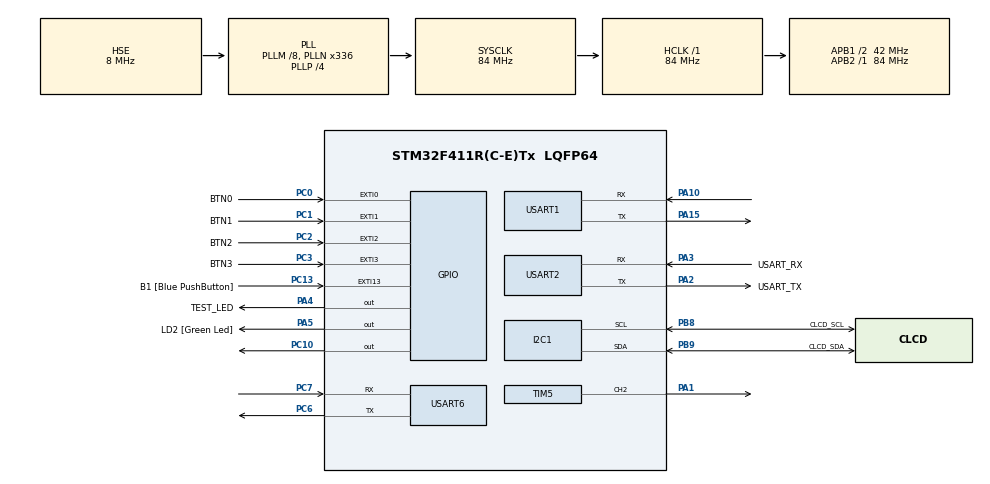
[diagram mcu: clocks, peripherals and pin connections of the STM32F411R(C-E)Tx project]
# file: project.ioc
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Dma.Request0=USART2_TX
Dma.USART2_TX.0.Direction=DMA_MEMORY_TO_PERIPH
Dma.USART2_TX.0.FIFOMode=DMA_FIFOMODE_DISABLE
Dma.USART2_TX.0.Instance=DMA1_Stream6
Dma.USART2_TX.0.MemDataAlignment=DMA_MDATAALIGN_BYTE
Dma.USART2_TX.0.MemInc=DMA_MINC_ENABLE
Dma.USART2_TX.0.Mode=DMA_NORMAL
Dma.USART2_TX.0.PeriphDataAlignment=DMA_PDATAALIGN_BYTE
Dma.USART2_TX.0.PeriphInc=DMA_PINC_DISABLE
Dma.USART2_TX.0.Priority=DMA_PRIORITY_LOW
Mcu.Family=STM32F4
Mcu.Name=STM32F411R(C-E)Tx
Mcu.Package=LQFP64
NVIC.DMA1_Stream6_IRQn=true\:0\:0\:false\:false\:true\:false\:true\:true
NVIC.PriorityGroup=NVIC_PRIORITYGROUP_0
NVIC.TIM3_IRQn=true\:0\:0\:false\:false\:true\:true\:true\:true
NVIC.USART2_IRQn=true\:0\:0\:false\:false\:true\:true\:true\:true
PA1.Signal=S_TIM5_CH2
PA10.Mode=Asynchronous
PA10.Signal=USART1_RX
PA13.GPIO_Label=TMS
PA13.Mode=Serial_Wire
PA13.Signal=SYS_JTMS-SWDIO
PA14.GPIO_Label=TCK
PA14.Mode=Serial_Wire
PA14.Signal=SYS_JTCK-SWCLK
PA15.Mode=Asynchronous
PA15.Signal=USART1_TX
PA2.GPIO_Label=USART_TX
PA2.Mode=Asynchronous
PA2.Signal=USART2_TX
PA3.GPIO_Label=USART_RX
PA3.Mode=Asynchronous
PA3.Signal=USART2_RX
PA4.GPIO_Label=TEST_LED
PA4.Signal=GPIO_Output
PA5.GPIO_Label=LD2 [Green Led]
PA5.Signal=GPIO_Output
PA8.Signal=S_TIM1_CH1
PA9.Signal=S_TIM1_CH2
PB3.GPIO_Label=SWO
PB3.Signal=SYS_JTDO-SWO
PB8.GPIO_Label=CLCD_SCL
PB8.Mode=I2C
PB8.Signal=I2C1_SCL
PB9.GPIO_Label=CLCD_SDA
PB9.Mode=I2C
PB9.Signal=I2C1_SDA
PC0.GPIO_Label=BTN0
PC0.Signal=GPXTI0
PC1.GPIO_Label=BTN1
PC1.Signal=GPXTI1
PC10.GPIO_Speed=GPIO_SPEED_FREQ_HIGH
PC10.PinState=GPIO_PIN_SET
PC10.Signal=GPIO_Output
PC13-ANTI_TAMP.GPIO_Label=B1 [Blue PushButton]
PC13-ANTI_TAMP.GPIO_ModeDefaultEXTI=GPIO_MODE_IT_FALLING
PC13-ANTI_TAMP.Signal=GPXTI13
PC14-OSC32_IN.Signal=RCC_OSC32_IN
PC15-OSC32_OUT.Signal=RCC_OSC32_OUT
PC2.GPIO_Label=BTN2
PC2.Signal=GPXTI2
PC3.GPIO_Label=BTN3
PC3.Signal=GPXTI3
PC6.Mode=Asynchronous
PC6.Signal=USART6_TX
PC7.Mode=Asynchronous
PC7.Signal=USART6_RX
PH0\ -\ OSC_IN.Mode=HSE-External-Oscillator
PH0\ -\ OSC_IN.Signal=RCC_OSC_IN
PH1\ -\ OSC_OUT.Mode=HSE-External-Oscillator
PH1\ -\ OSC_OUT.Signal=RCC_OSC_OUT
ProjectManager.HeapSize=0x200
ProjectManager.StackSize=0x400
ProjectManager.TargetToolchain=CMake
RCC.48MHZClocksFreq_Value=84000000
RCC.AHBFreq_Value=84000000
RCC.APB1CLKDivider=RCC_HCLK_DIV2
RCC.APB1Freq_Value=42000000
RCC.APB1TimFreq_Value=84000000
RCC.APB2Freq_Value=84000000
RCC.APB2TimFreq_Value=84000000
RCC.CortexFreq_Value=84000000
RCC.FLatency-AdvancedSettings=FLASH_LATENCY_2
RCC.HCLKFreq_Value=84000000
RCC.HSE_VALUE=8000000
RCC.HSI_VALUE=16000000
RCC.LSE_VALUE=32768
RCC.PLLM=8
RCC.PLLN=336
RCC.PLLP=RCC_PLLP_DIV4
RCC.PLLSourceVirtual=RCC_PLLSOURCE_HSE
RCC.SYSCLKFreq_VALUE=84000000
RCC.SYSCLKSource=RCC_SYSCLKSOURCE_PLLCLK
RCC.VCOOutputFreq_Value=336000000
SH.S_TIM1_CH1.0=TIM1_CH1
SH.S_TIM1_CH2.0=TIM1_CH2
SH.S_TIM5_CH2.0=TIM5_CH2,PWM Generation2 CH2
TIM3.AutoReloadPreload=TIM_AUTORELOAD_PRELOAD_ENABLE
TIM3.Period=10000-1
TIM3.Prescaler=840-1
TIM5.Channel-PWM\ Generation2\ CH2=TIM_CHANNEL_2
USART1.VirtualMode=VM_ASYNC
USART2.VirtualMode=VM_ASYNC
USART6.VirtualMode=VM_ASYNC
VP_TIM3_VS_ClockSourceINT.Mode=Internal
VP_TIM5_VS_ClockSourceINT.Mode=Internal
board=NUCLEO-F411RE

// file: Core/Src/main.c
/* USER CODE BEGIN Header */
/**
 ******************************************************************************
 * @file           : main.c
 * @brief          : Main program body
 ******************************************************************************❓
 * @attention
 *
 * Copyright (c) 2024 STMicroelectronics.
 * All rights reserved.
 *
 * This software is licensed under terms that can be found in the LICENSE file
 * in the root directory of this software component.
 * If no LICENSE file comes with this software, it is provided AS-IS.
 *
 ******************************************************************************
 */
/* USER CODE END Header */
#include "main.h"

/* USER CODE BEGIN Includes */
#include "clcd.h"
#include <stdio.h>
#include <string.h>

/* USER CODE END Includes */

/* USER CODE BEGIN PD */
typedef struct {
  int msec; // Milliseconds (0.1s resolution)
  int sec;  // Seconds
  int min;  // Minutes
  int hour; // Hours
  char apm; // "A": AM, "P": PM
} ATIME;

/* USER CODE END PD */

/* USER CODE BEGIN PM */
#ifdef __GNUC__
/* With GCC, small printf (option LD Linker->Libraries->Small printf
   set to 'Yes') calls __io_putchar() */
#define PUTCHAR_PROTOTYPE int __io_putchar(int ch)
#else
#define PUTCHAR_PROTOTYPE int fputc(int ch, FILE *f)
#endif /* __GNUC__ */

/* USER CODE END PM */

I2C_HandleTypeDef hi2c1;

TIM_HandleTypeDef htim3;
TIM_HandleTypeDef htim5;

UART_HandleTypeDef huart1;
UART_HandleTypeDef huart2;
UART_HandleTypeDef huart6;
DMA_HandleTypeDef hdma_usart2_tx;

/* USER CODE BEGIN PV */
uint16_t risingCnt, fallingCnt, cntBuffer, distance;
uint8_t pwmDutyCycle = 0;
// ⚙️
__IO uint8_t tim3Flag100ms = 0;
__IO uint8_t tim3Flag1Sec = 0;
__IO uint8_t tim3FlagHalfSec = 0;
__IO uint32_t tim3Sec = 0;
__IO uint32_t tim3Cnt = 0;
__IO uint32_t tim3HalfCnt = 0;
/* USER CODE END PV */

void SystemClock_Config(void);
static void MX_GPIO_Init(void);
static void MX_DMA_Init(void);
static void MX_USART2_UART_Init(void);
static void MX_I2C1_Init(void);
static void MX_TIM5_Init(void);
static void MX_USART1_UART_Init(void);
static void MX_USART6_UART_Init(void);
static void MX_TIM3_Init(void);
/* USER CODE BEGIN PFP */
void delay_us(uint16_t us) {
  __HAL_TIM_SET_COUNTER(&htim3, 0); // TIM1 CNT=0
  while (__HAL_TIM_GET_COUNTER(&htim3) < us)
    ; // TIM1 CNT us compare
}

/* USER CODE END PFP */

int main(void)
{

  /* MCU Configuration--------------------------------------------------------*/

  /* Reset of all peripherals, Initializes the Flash interface and the Systick. */
  HAL_Init();

  /* Configure the system clock */
  SystemClock_Config();

  /* Initialize all configured peripherals */
  MX_GPIO_Init();
  MX_DMA_Init();
  MX_USART2_UART_Init();
  MX_I2C1_Init();
  MX_TIM5_Init();
  MX_USART1_UART_Init();
  MX_USART6_UART_Init();
  MX_TIM3_Init();
  /* USER CODE BEGIN 2 */
  // ⚙️
  printf("start main() - tm3_100ms\r\n");
  printf("pi : %.2lf\r\n", 3.14159);
  HAL_TIM_Base_Start_IT(&htim3);

  LCD_init(&hi2c1);
  LCD_writeStringXY(0, 0, "T 12:00:00 AM   ");
  LCD_writeStringXY(1, 0, "A 12:00:00 AM   ");
  // ?TODO: LCD 작동 안함.. 잘못된 부분 있나?.. (전원은 들어옴. 화면이 안바뀜))

  /* USER CODE END 2 */

  /* Infinite loop */
  /* USER CODE BEGIN WHILE */
  while (1) {
    // Check for 0.5-second flag
    if (tim3FlagHalfSec) {
      // Reset the 0.5-second flag
      tim3FlagHalfSec = 0;

      // 🔗 Toggle buzzer pin (connected to 🔗 TEST_LED_PIN)
      HAL_GPIO_TogglePin(TEST_LED_GPIO_Port, TEST_LED_Pin);
    }

    // Check for 1-second flag
    if (tim3Flag1Sec) {
      tim3Flag1Sec = 0; // Reset the 1-second flag

      // 📰 TODO: Timer....
      // Perform any other 1-second interval tasks here
    }
  }

  // while (1) {
    /* USER CODE END WHILE */

    /* USER CODE BEGIN 3 */
  //   HAL_GPIO_WritePin(GPIOC, GPIO_PIN_10, RESET);
  //   delay_us(1);
  //   HAL_GPIO_WritePin(GPIOC, GPIO_PIN_10, SET);
  //   delay_us(10);
  //   HAL_GPIO_WritePin(GPIOC, GPIO_PIN_10, RESET);
  //   cntBuffer = fallingCnt - risingCnt;
  //   // Tx_data[0] = cntBuffer/58;
  //   distance = cntBuffer / 58;
  //   htim3.Instance->CCR1 = 0;

  //   printf("%3dcm\n", distance);

  //   if (distance <= 20) { // If distance is less than or equal to 20 cm
  //     controlServo(90);   // 서브모터를 90도로 설정
  //     HAL_Delay(3000);    // 3초 대기
  //   } else if (distance > 20) {
  //     controlServo(0); // 서브모터를 0도로 설정
  //   }
  //   //	HAL_UART_Transmit_DMA(&huart2, Tx_data, sizeof(Tx_data));
  //   HAL_Delay(60);
  // }
  /* USER CODE END 3 */
}

void SystemClock_Config(void)
{
  RCC_OscInitTypeDef RCC_OscInitStruct = {0};
  RCC_ClkInitTypeDef RCC_ClkInitStruct = {0};

  /** Configure the main internal regulator output voltage
  */
  __HAL_RCC_PWR_CLK_ENABLE();
  __HAL_PWR_VOLTAGESCALING_CONFIG(PWR_REGULATOR_VOLTAGE_SCALE1);

  /** Initializes the RCC Oscillators according to the specified parameters
  * in the RCC_OscInitTypeDef structure.
  */
  RCC_OscInitStruct.OscillatorType = RCC_OSCILLATORTYPE_HSE;
  RCC_OscInitStruct.HSEState = RCC_HSE_ON;
  RCC_OscInitStruct.PLL.PLLState = RCC_PLL_ON;
  RCC_OscInitStruct.PLL.PLLSource = RCC_PLLSOURCE_HSE;
  RCC_OscInitStruct.PLL.PLLM = 8;
  RCC_OscInitStruct.PLL.PLLN = 336;
  RCC_OscInitStruct.PLL.PLLP = RCC_PLLP_DIV4;
  RCC_OscInitStruct.PLL.PLLQ = 4;
  if (HAL_RCC_OscConfig(&RCC_OscInitStruct) != HAL_OK)
  {
    Error_Handler();
  }

  /** Initializes the CPU, AHB and APB buses clocks
  */
  RCC_ClkInitStruct.ClockType = RCC_CLOCKTYPE_HCLK|RCC_CLOCKTYPE_SYSCLK
                              |RCC_CLOCKTYPE_PCLK1|RCC_CLOCKTYPE_PCLK2;
  RCC_ClkInitStruct.SYSCLKSource = RCC_SYSCLKSOURCE_PLLCLK;
  RCC_ClkInitStruct.AHBCLKDivider = RCC_SYSCLK_DIV1;
  RCC_ClkInitStruct.APB1CLKDivider = RCC_HCLK_DIV2;
  RCC_ClkInitStruct.APB2CLKDivider = RCC_HCLK_DIV1;

  if (HAL_RCC_ClockConfig(&RCC_ClkInitStruct, FLASH_LATENCY_2) != HAL_OK)
  {
    Error_Handler();
  }
}

static void MX_I2C1_Init(void)
{

  hi2c1.Instance = I2C1;
  hi2c1.Init.ClockSpeed = 100000;
  hi2c1.Init.DutyCycle = I2C_DUTYCYCLE_2;
  hi2c1.Init.OwnAddress1 = 0;
  hi2c1.Init.AddressingMode = I2C_ADDRESSINGMODE_7BIT;
  hi2c1.Init.DualAddressMode = I2C_DUALADDRESS_DISABLE;
  hi2c1.Init.OwnAddress2 = 0;
  hi2c1.Init.GeneralCallMode = I2C_GENERALCALL_DISABLE;
  hi2c1.Init.NoStretchMode = I2C_NOSTRETCH_DISABLE;
  if (HAL_I2C_Init(&hi2c1) != HAL_OK)
  {
    Error_Handler();
  }

}

static void MX_TIM3_Init(void)
{

  TIM_ClockConfigTypeDef sClockSourceConfig = {0};
  TIM_MasterConfigTypeDef sMasterConfig = {0};

  htim3.Instance = TIM3;
  htim3.Init.Prescaler = 840-1;
  htim3.Init.CounterMode = TIM_COUNTERMODE_UP;
  htim3.Init.Period = 10000-1;
  htim3.Init.ClockDivision = TIM_CLOCKDIVISION_DIV1;
  htim3.Init.AutoReloadPreload = TIM_AUTORELOAD_PRELOAD_ENABLE;
  if (HAL_TIM_Base_Init(&htim3) != HAL_OK)
  {
    Error_Handler();
  }
  sClockSourceConfig.ClockSource = TIM_CLOCKSOURCE_INTERNAL;
  if (HAL_TIM_ConfigClockSource(&htim3, &sClockSourceConfig) != HAL_OK)
  {
    Error_Handler();
  }
  sMasterConfig.MasterOutputTrigger = TIM_TRGO_RESET;
  sMasterConfig.MasterSlaveMode = TIM_MASTERSLAVEMODE_DISABLE;
  if (HAL_TIMEx_MasterConfigSynchronization(&htim3, &sMasterConfig) != HAL_OK)
  {
    Error_Handler();
  }

}

static void MX_TIM5_Init(void)
{

  TIM_ClockConfigTypeDef sClockSourceConfig = {0};
  TIM_MasterConfigTypeDef sMasterConfig = {0};
  TIM_OC_InitTypeDef sConfigOC = {0};

  htim5.Instance = TIM5;
  htim5.Init.Prescaler = 0;
  htim5.Init.CounterMode = TIM_COUNTERMODE_UP;
  htim5.Init.Period = 4294967295;
  htim5.Init.ClockDivision = TIM_CLOCKDIVISION_DIV1;
  htim5.Init.AutoReloadPreload = TIM_AUTORELOAD_PRELOAD_DISABLE;
  if (HAL_TIM_Base_Init(&htim5) != HAL_OK)
  {
    Error_Handler();
  }
  sClockSourceConfig.ClockSource = TIM_CLOCKSOURCE_INTERNAL;
  if (HAL_TIM_ConfigClockSource(&htim5, &sClockSourceConfig) != HAL_OK)
  {
    Error_Handler();
  }
  if (HAL_TIM_PWM_Init(&htim5) != HAL_OK)
  {
    Error_Handler();
  }
  sMasterConfig.MasterOutputTrigger = TIM_TRGO_RESET;
  sMasterConfig.MasterSlaveMode = TIM_MASTERSLAVEMODE_DISABLE;
  if (HAL_TIMEx_MasterConfigSynchronization(&htim5, &sMasterConfig) != HAL_OK)
  {
    Error_Handler();
  }
  sConfigOC.OCMode = TIM_OCMODE_PWM1;
  sConfigOC.Pulse = 0;
  sConfigOC.OCPolarity = TIM_OCPOLARITY_HIGH;
  sConfigOC.OCFastMode = TIM_OCFAST_DISABLE;
  if (HAL_TIM_PWM_ConfigChannel(&htim5, &sConfigOC, TIM_CHANNEL_2) != HAL_OK)
  {
    Error_Handler();
  }
  HAL_TIM_MspPostInit(&htim5);

}

static void MX_USART1_UART_Init(void)
{

  huart1.Instance = USART1;
  huart1.Init.BaudRate = 115200;
  huart1.Init.WordLength = UART_WORDLENGTH_8B;
  huart1.Init.StopBits = UART_STOPBITS_1;
  huart1.Init.Parity = UART_PARITY_NONE;
  huart1.Init.Mode = UART_MODE_TX_RX;
  huart1.Init.HwFlowCtl = UART_HWCONTROL_NONE;
  huart1.Init.OverSampling = UART_OVERSAMPLING_16;
  if (HAL_UART_Init(&huart1) != HAL_OK)
  {
    Error_Handler();
  }

}

static void MX_USART2_UART_Init(void)
{

  huart2.Instance = USART2;
  huart2.Init.BaudRate = 115200;
  huart2.Init.WordLength = UART_WORDLENGTH_8B;
  huart2.Init.StopBits = UART_STOPBITS_1;
  huart2.Init.Parity = UART_PARITY_NONE;
  huart2.Init.Mode = UART_MODE_TX_RX;
  huart2.Init.HwFlowCtl = UART_HWCONTROL_NONE;
  huart2.Init.OverSampling = UART_OVERSAMPLING_16;
  if (HAL_UART_Init(&huart2) != HAL_OK)
  {
    Error_Handler();
  }

}

static void MX_USART6_UART_Init(void)
{

  huart6.Instance = USART6;
  huart6.Init.BaudRate = 115200;
  huart6.Init.WordLength = UART_WORDLENGTH_8B;
  huart6.Init.StopBits = UART_STOPBITS_1;
  huart6.Init.Parity = UART_PARITY_NONE;
  huart6.Init.Mode = UART_MODE_TX_RX;
  huart6.Init.HwFlowCtl = UART_HWCONTROL_NONE;
  huart6.Init.OverSampling = UART_OVERSAMPLING_16;
  if (HAL_UART_Init(&huart6) != HAL_OK)
  {
    Error_Handler();
  }

}

static void MX_DMA_Init(void)
{

  /* DMA controller clock enable */
  __HAL_RCC_DMA1_CLK_ENABLE();

  /* DMA interrupt init */
  /* DMA1_Stream6_IRQn interrupt configuration */
  HAL_NVIC_SetPriority(DMA1_Stream6_IRQn, 0, 0);
  HAL_NVIC_EnableIRQ(DMA1_Stream6_IRQn);

}

static void MX_GPIO_Init(void)
{
  GPIO_InitTypeDef GPIO_InitStruct = {0};

  /* GPIO Ports Clock Enable */
  __HAL_RCC_GPIOC_CLK_ENABLE();
  __HAL_RCC_GPIOH_CLK_ENABLE();
  __HAL_RCC_GPIOA_CLK_ENABLE();
  __HAL_RCC_GPIOB_CLK_ENABLE();

  /*Configure GPIO pin Output Level */
  HAL_GPIO_WritePin(GPIOA, TEST_LED_Pin|LD2_Pin, GPIO_PIN_RESET);

  /*Configure GPIO pin Output Level */
  HAL_GPIO_WritePin(GPIOC, GPIO_PIN_10, GPIO_PIN_SET);

  /*Configure GPIO pin : B1_Pin */
  GPIO_InitStruct.Pin = B1_Pin;
  GPIO_InitStruct.Mode = GPIO_MODE_IT_FALLING;
  GPIO_InitStruct.Pull = GPIO_NOPULL;
  HAL_GPIO_Init(B1_GPIO_Port, &GPIO_InitStruct);

  /*Configure GPIO pins : BTN0_Pin BTN1_Pin BTN2_Pin BTN3_Pin */
  GPIO_InitStruct.Pin = BTN0_Pin|BTN1_Pin|BTN2_Pin|BTN3_Pin;
  GPIO_InitStruct.Mode = GPIO_MODE_IT_RISING;
  GPIO_InitStruct.Pull = GPIO_NOPULL;
  HAL_GPIO_Init(GPIOC, &GPIO_InitStruct);

  /*Configure GPIO pins : TEST_LED_Pin LD2_Pin */
  GPIO_InitStruct.Pin = TEST_LED_Pin|LD2_Pin;
  GPIO_InitStruct.Mode = GPIO_MODE_OUTPUT_PP;
  GPIO_InitStruct.Pull = GPIO_NOPULL;
  GPIO_InitStruct.Speed = GPIO_SPEED_FREQ_LOW;
  HAL_GPIO_Init(GPIOA, &GPIO_InitStruct);

  /*Configure GPIO pins : PA8 PA9 */
  GPIO_InitStruct.Pin = GPIO_PIN_8|GPIO_PIN_9;
  GPIO_InitStruct.Mode = GPIO_MODE_AF_PP;
  GPIO_InitStruct.Pull = GPIO_NOPULL;
  GPIO_InitStruct.Speed = GPIO_SPEED_FREQ_LOW;
  GPIO_InitStruct.Alternate = GPIO_AF1_TIM1;
  HAL_GPIO_Init(GPIOA, &GPIO_InitStruct);

  /*Configure GPIO pin : PC10 */
  GPIO_InitStruct.Pin = GPIO_PIN_10;
  GPIO_InitStruct.Mode = GPIO_MODE_OUTPUT_PP;
  GPIO_InitStruct.Pull = GPIO_NOPULL;
  GPIO_InitStruct.Speed = GPIO_SPEED_FREQ_HIGH;
  HAL_GPIO_Init(GPIOC, &GPIO_InitStruct);

}

/* USER CODE BEGIN 4 */
// void controlServo(uint8_t angle) {
//   uint16_t pulseWidth;

//   // Calculate pulse width for servo control (1ms to 2ms pulse range)
//   if (angle == 0) {
//     pulseWidth = 500; // 0 degree
//   } else if (angle == 90) {
//     pulseWidth = 1500; // 90 degree
//   } else if (angle == 180) {
//     pulseWidth = 2500; // 180 degree
//   } else {
//     pulseWidth = 1500; // Default to 0 degree
//   }

//   __HAL_TIM_SET_COMPARE(&htim4, TIM_CHANNEL_2,
//                         pulseWidth); // Update PWM duty cycle for servo motor
// }
PUTCHAR_PROTOTYPE {
  /* Place your implementation of fputc here */
  /* e.g. write a character to the EVAL_COM1 and Loop until the end of
   * transmission */
  HAL_UART_Transmit(&huart2, (uint8_t *)&ch, 1, 0xFFFF);

  return ch;
}
/* ⚙️ Timer 3
Interrupt period = 10000 counts × 10 µs = 100 ms
  TIM3.Period = 10000 - 1
  TIM3.Prescaler = 840 - 1
  Interrupt occurs every 100ms because:
  Timer clock = 84 MHz / 840 = 100 kHz (10 µs per count)
*/
volatile uint32_t lastTime = 0;

void HAL_TIM_PeriodElapsedCallback(TIM_HandleTypeDef *htim) {
  if (htim->Instance == TIM3) {
    tim3HalfCnt++;
    tim3Cnt++;

    // Check if 0.5 seconds (500ms) have elapsed
    if (tim3HalfCnt == 5) {
      tim3FlagHalfSec = 1;

      // Reset half-second counter
      tim3HalfCnt = 0;
    }

    // Check if 1 second (1000ms) has elapsed
    if (tim3Cnt == 10) {
      tim3Flag1Sec = 1;

      // Increment total seconds counter
      tim3Sec++;

      // Reset 1 second counter
      tim3Cnt = 0;
    }
  }
}

/* USER CODE END 4 */

void Error_Handler(void)
{
  __disable_irq();
  while (1) {
  }
}

#ifdef  USE_FULL_ASSERT
/**
  * @brief  Reports the name of the source file and the source line number
  *         where the assert_param error has occurred.
  * @param  file: pointer to the source file name
  * @param  line: assert_param error line source number
  * @retval None
  */
void assert_failed(uint8_t *file, uint32_t line)
{
  /* USER CODE BEGIN 6 */
  /* User can add his own implementation to report the file name and line
     number, ex: printf("Wrong parameters value: file %s on line %d\r\n", file,
     line) */
  /* USER CODE END 6 */
}
#endif /* USE_FULL_ASSERT */
